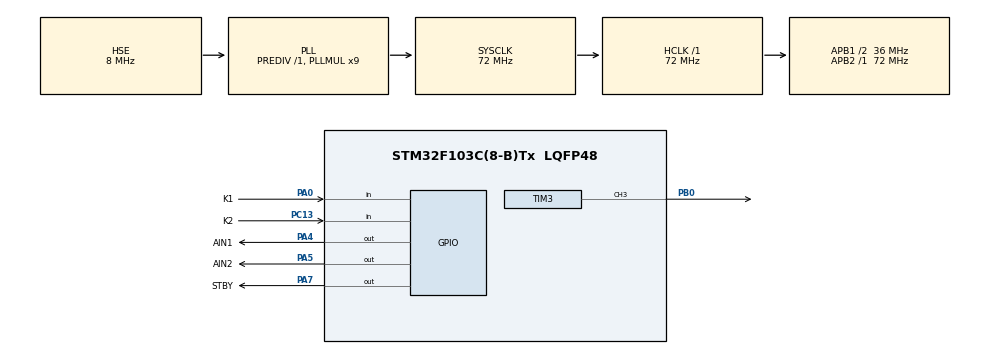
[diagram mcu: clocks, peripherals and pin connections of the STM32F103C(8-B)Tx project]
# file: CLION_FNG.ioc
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Mcu.Family=STM32F1
Mcu.Name=STM32F103C(8-B)Tx
Mcu.Package=LQFP48
NVIC.PriorityGroup=NVIC_PRIORITYGROUP_4
PA0-WKUP.GPIO_Label=K1
PA0-WKUP.GPIO_PuPd=GPIO_PULLDOWN
PA0-WKUP.Signal=GPIO_Input
PA13.Mode=Serial_Wire
PA13.Signal=SYS_JTMS-SWDIO
PA14.Mode=Serial_Wire
PA14.Signal=SYS_JTCK-SWCLK
PA4.GPIO_Label=AIN1
PA4.Signal=GPIO_Output
PA5.GPIO_Label=AIN2
PA5.Signal=GPIO_Output
PA7.GPIO_Label=STBY
PA7.Signal=GPIO_Output
PB0.Signal=S_TIM3_CH3
PC13-TAMPER-RTC.GPIO_Label=K2
PC13-TAMPER-RTC.GPIO_PuPd=GPIO_PULLDOWN
PC13-TAMPER-RTC.Signal=GPIO_Input
PC14-OSC32_IN.Mode=LSE-External-Oscillator
PC14-OSC32_IN.Signal=RCC_OSC32_IN
PC15-OSC32_OUT.Mode=LSE-External-Oscillator
PC15-OSC32_OUT.Signal=RCC_OSC32_OUT
PD0-OSC_IN.Mode=HSE-External-Oscillator
PD0-OSC_IN.Signal=RCC_OSC_IN
PD1-OSC_OUT.Mode=HSE-External-Oscillator
PD1-OSC_OUT.Signal=RCC_OSC_OUT
ProjectManager.HeapSize=0x200
ProjectManager.StackSize=0x400
ProjectManager.TargetToolchain=CMake
RCC.AHBFreq_Value=72000000
RCC.APB1CLKDivider=RCC_HCLK_DIV2
RCC.APB1Freq_Value=36000000
RCC.APB1TimFreq_Value=72000000
RCC.APB2Freq_Value=72000000
RCC.APB2TimFreq_Value=72000000
RCC.HCLKFreq_Value=72000000
RCC.PLLMUL=RCC_PLL_MUL9
RCC.PLLSourceVirtual=RCC_PLLSOURCE_HSE
RCC.SYSCLKFreq_VALUE=72000000
RCC.SYSCLKSource=RCC_SYSCLKSOURCE_PLLCLK
RCC.USBFreq_Value=72000000
SH.S_TIM3_CH3.0=TIM3_CH3,PWM Generation3 CH3
TIM3.AutoReloadPreload=TIM_AUTORELOAD_PRELOAD_ENABLE
TIM3.Channel-PWM\ Generation3\ CH3=TIM_CHANNEL_3
TIM3.OCMode_PWM-PWM\ Generation3\ CH3=TIM_OCMODE_PWM1
TIM3.Period=99
TIM3.Prescaler=71
board=custom

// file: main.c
/* USER CODE BEGIN Header */
/**
  ******************************************************************************
  * @file           : main.c
  * @brief          : Main program body
  ******************************************************************************
  * @attention
  *
  * Copyright (c) 2026 STMicroelectronics.
  * All rights reserved.
  *
  * This software is licensed under terms that can be found in the LICENSE file
  * in the root directory of this software component.
  * If no LICENSE file comes with this software, it is provided AS-IS.
  *
  ******************************************************************************
  */
/* USER CODE END Header */
#include "main.h"
#include "tim.h"
#include "gpio.h"

/* USER CODE BEGIN PTD */
#define SPEED_LOW 20
#define SPEED_HIGH 80
/* USER CODE END PTD */

/* USER CODE BEGIN PV */
uint8_t speed_mode=0; //0:low speed, 1:high speed
uint8_t dir_mode=0; //0:forward, 1:backward
/* USER CODE END PV */

void SystemClock_Config(void);

/* USER CODE BEGIN 0 */
void Moto_set(uint8_t dir,uint16_t speed) {
  __HAL_TIM_SET_COMPARE(&htim3, TIM_CHANNEL_3,speed);
  if (dir==0){
    HAL_GPIO_WritePin(AIN1_GPIO_Port, AIN1_Pin, GPIO_PIN_SET);
    HAL_GPIO_WritePin(AIN2_GPIO_Port, AIN2_Pin, GPIO_PIN_RESET);

}else {

    HAL_GPIO_WritePin(AIN1_GPIO_Port, AIN1_Pin, GPIO_PIN_RESET);
    HAL_GPIO_WritePin(AIN2_GPIO_Port, AIN2_Pin, GPIO_PIN_SET);
  }
}
/* USER CODE END 0 */

int main(void)
{

  /* MCU Configuration--------------------------------------------------------*/

  /* Reset of all peripherals, Initializes the Flash interface and the Systick. */
  HAL_Init();

  /* Configure the system clock */
  SystemClock_Config();

  /* Initialize all configured peripherals */
  MX_GPIO_Init();
  MX_TIM3_Init();
  /* USER CODE BEGIN 2 */
HAL_TIM_PWM_Start(&htim3, TIM_CHANNEL_3);
  HAL_GPIO_WritePin(STBY_GPIO_Port, STBY_Pin, GPIO_PIN_SET);

  /* USER CODE END 2 */

  /* Infinite loop */
  /* USER CODE BEGIN WHILE */
  while (1)
  {
    if(HAL_GPIO_ReadPin(GPIOA,K1_Pin)==GPIO_PIN_SET) {
      speed_mode=!speed_mode;
      uint16_t speed=(speed_mode==0)?SPEED_LOW:SPEED_HIGH;
      Moto_set(dir_mode,speed);
      while (HAL_GPIO_ReadPin(GPIOA,K1_Pin)==GPIO_PIN_SET) ;

      }
    if (HAL_GPIO_ReadPin(GPIOC,K2_Pin)==GPIO_PIN_SET) {
      dir_mode=!dir_mode;
      uint16_t speed=(speed_mode==0)?SPEED_LOW:SPEED_HIGH;
      Moto_set(dir_mode,speed);
        while (HAL_GPIO_ReadPin(GPIOC,K2_Pin)==GPIO_PIN_SET);
      }
    }
    /* USER CODE END WHILE */

  }

void SystemClock_Config(void)
{
  RCC_OscInitTypeDef RCC_OscInitStruct = {0};
  RCC_ClkInitTypeDef RCC_ClkInitStruct = {0};

  /** Initializes the RCC Oscillators according to the specified parameters
  * in the RCC_OscInitTypeDef structure.
  */
  RCC_OscInitStruct.OscillatorType = RCC_OSCILLATORTYPE_HSE;
  RCC_OscInitStruct.HSEState = RCC_HSE_ON;
  RCC_OscInitStruct.HSEPredivValue = RCC_HSE_PREDIV_DIV1;
  RCC_OscInitStruct.HSIState = RCC_HSI_ON;
  RCC_OscInitStruct.PLL.PLLState = RCC_PLL_ON;
  RCC_OscInitStruct.PLL.PLLSource = RCC_PLLSOURCE_HSE;
  RCC_OscInitStruct.PLL.PLLMUL = RCC_PLL_MUL9;
  if (HAL_RCC_OscConfig(&RCC_OscInitStruct) != HAL_OK)
  {
    Error_Handler();
  }

  /** Initializes the CPU, AHB and APB buses clocks
  */
  RCC_ClkInitStruct.ClockType = RCC_CLOCKTYPE_HCLK|RCC_CLOCKTYPE_SYSCLK
                              |RCC_CLOCKTYPE_PCLK1|RCC_CLOCKTYPE_PCLK2;
  RCC_ClkInitStruct.SYSCLKSource = RCC_SYSCLKSOURCE_PLLCLK;
  RCC_ClkInitStruct.AHBCLKDivider = RCC_SYSCLK_DIV1;
  RCC_ClkInitStruct.APB1CLKDivider = RCC_HCLK_DIV2;
  RCC_ClkInitStruct.APB2CLKDivider = RCC_HCLK_DIV1;

  if (HAL_RCC_ClockConfig(&RCC_ClkInitStruct, FLASH_LATENCY_2) != HAL_OK)
  {
    Error_Handler();
  }
}

void Error_Handler(void)
{
  __disable_irq();
  while (1)
  {
  }
}
